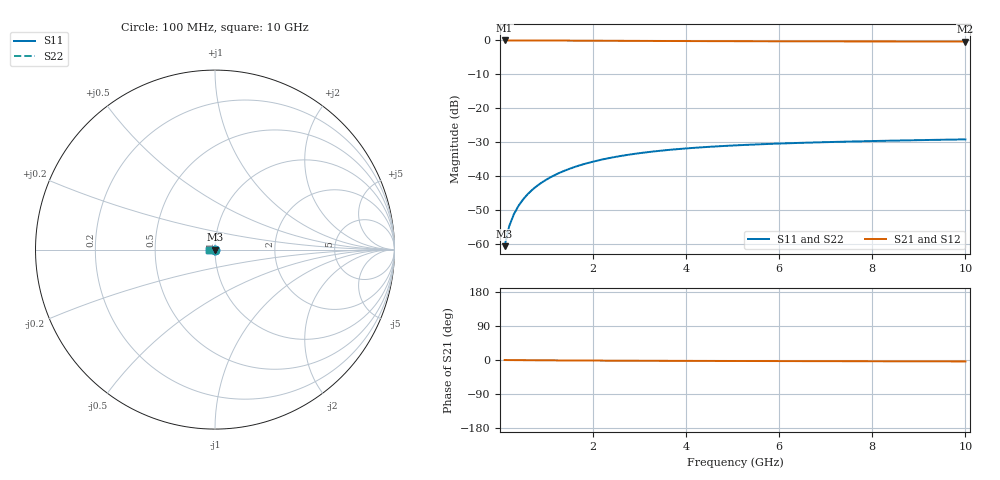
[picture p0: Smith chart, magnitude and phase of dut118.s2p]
! Touchstone file exported from HFSS 2024.1.0
!  File:  C:/UserFiles/LocalFiles/RDL_TSV_Batchsim/temp_TSV1_118_1779378555.aedt
!  Generated:  11:53:53 PM May 21, 2026
!  Design:  TSV1
!  Project:  temp_TSV1_118_1779378555
!  Setup:  Setup1
!  Solution:  Sweep
! Variables:
!  dtsv = 10.18um
!  hbump = 3um
!  htsv = 56.48um
!  lrdl = 252.1521522um
!  p = 40
!  p1 = 44.53um
!  t = 500um
!  trdl = 3um
!  wrdl = 24.89489489um
# GHz S MA R 50.000000
! Terminal data exported
! Port[1] = TSV22_T1
! Port[2] = TSV22_T2
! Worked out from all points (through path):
!   100 points, 100 MHz to 10 GHz, reference 50 ohm
!   highest |S21| = 0.00 dB at 100 MHz (marker M1); lowest = -0.3 dB at 10 GHz (marker M2)
!   lowest |S11| = -60.7 dB at 100 MHz (marker M3), VSWR 1.00, Z = 50 - j0.0919 ohm
!   |S11| at or under -10 dB: start of sweep to end of sweep
!   |S22| runs from -60.7 to -29.2 dB; largest |S21 - S12| = 3.1e-15
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0.1  0.000923 -84.4  0.9999 -0.1  0.9999 -0.1  0.000923 -84.4
! Gamma 0 0 0 0
! Port Impedance 50 0 50 0
0.2  0.001833 -89.7  0.9998 -0.2  0.9998 -0.2  0.001833 -89.7
0.3  0.002742 -92.6  0.9996 -0.3  0.9996 -0.3  0.002742 -92.6
0.4  0.003647 -94.9  0.9994 -0.4  0.9994 -0.4  0.003647 -94.9
0.5  0.004545 -96.9  0.9992 -0.4  0.9992 -0.4  0.004545 -96.9
0.6  0.005434 -98.8  0.9989 -0.5  0.9989 -0.5  0.005434 -98.8
0.7  0.006314 -100.6  0.9985 -0.6  0.9985 -0.6  0.006314 -100.6
0.8  0.007182 -102.3  0.9981 -0.7  0.9981 -0.7  0.007182 -102.3
0.9  0.008037 -104.0  0.9977 -0.8  0.9977 -0.8  0.008037 -104.0
1.1  0.009702 -107.3  0.9967 -0.9  0.9967 -0.9  0.009702 -107.3
1.4  0.01207 -111.9  0.9951 -1.1  0.9951 -1.1  0.01207 -111.9
1.6  0.01356 -114.8  0.9938 -1.3  0.9938 -1.3  0.01356 -114.8
1.8  0.01497 -117.7  0.9926 -1.4  0.9926 -1.4  0.01497 -117.7
2.1  0.01692 -121.7  0.9907 -1.6  0.9907 -1.6  0.01692 -121.7
2.5  0.01925 -126.6  0.9881 -1.8  0.9881 -1.8  0.01925 -126.6
2.9  0.02127 -131.1  0.9856 -1.9  0.9856 -1.9  0.02127 -131.1
3.4  0.02342 -136.2  0.9827 -2.1  0.9827 -2.1  0.02342 -136.2
4.2  0.02614 -143.3  0.9786 -2.4  0.9786 -2.4  0.02614 -143.3
5.1  0.02841 -149.8  0.9749 -2.6  0.9749 -2.6  0.02841 -149.8
6.7  0.0312 -159.1  0.97 -3.0  0.97 -3.0  0.0312 -159.1
8.4  0.03323 -166.8  0.9666 -3.4  0.9666 -3.4  0.03323 -166.8
10  0.03473 -173.0  0.9643 -3.8  0.9643 -3.8  0.03473 -173.0
